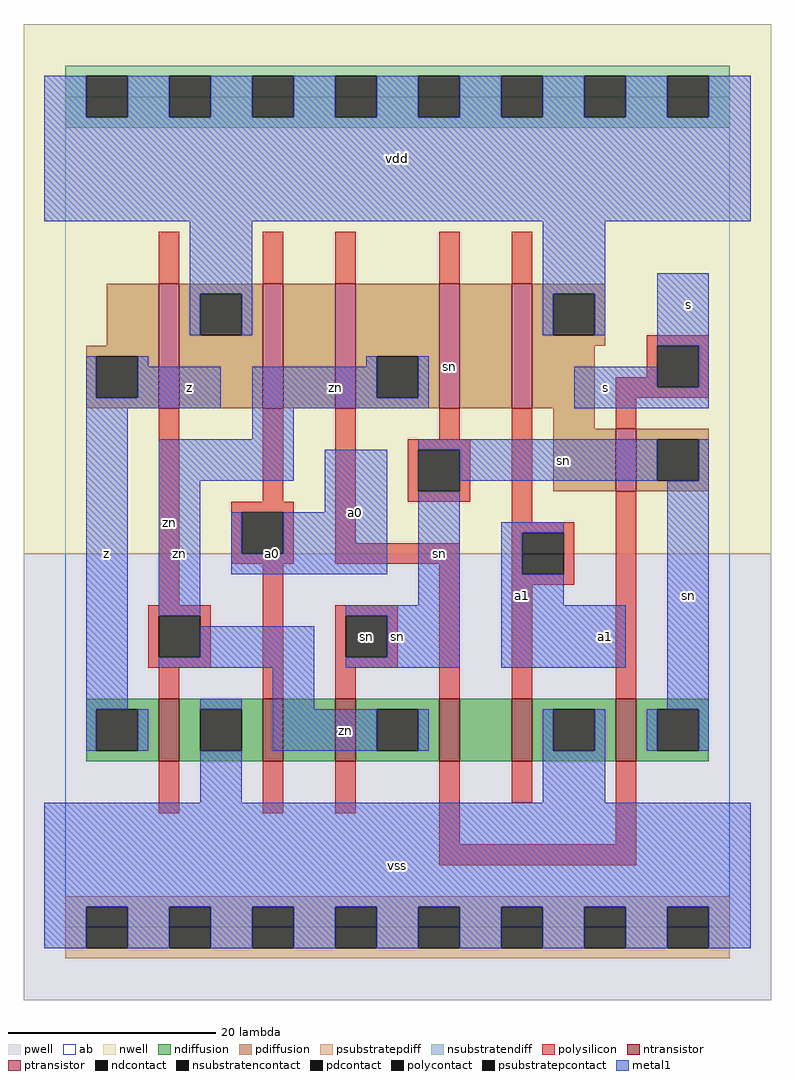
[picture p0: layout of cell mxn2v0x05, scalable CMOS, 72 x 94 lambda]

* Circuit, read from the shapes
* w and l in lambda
.subckt mxn2v0x05 a0 a1 s sn vdd vss z zn
M1 vss zn z vss nfet w=6 l=2
M2 n1 a0 vss vss nfet w=6 l=2
M3 zn sn n1 vss nfet w=6 l=2
M4 n2 s zn vss nfet w=6 l=2
M5 vss a1 n2 vss nfet w=6 l=2
M6 sn s vss vss nfet w=6 l=2
M7 vdd zn z vdd pfet w=12 l=2
M8 n3 a0 vdd vdd pfet w=12 l=2
M9 zn s n3 vdd pfet w=12 l=2
M10 n4 sn zn vdd pfet w=12 l=2
M11 vdd a1 n4 vdd pfet w=12 l=2
M12 sn s vdd vdd pfet w=6 l=2
.ends

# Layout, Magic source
magic
tech scmos
<< ab >>
rect 0 0 64 80
<< pwell >>
rect -4 -7 68 36
<< nwell >>
rect -4 36 68 87
<< polysilicon >>
rect 9 62 11 67
rect 19 62 21 67
rect 26 62 28 67
rect 36 62 38 67
rect 43 62 45 67
rect 56 56 62 57
rect 56 53 57 56
rect 9 31 11 50
rect 19 41 21 50
rect 16 40 22 41
rect 16 36 17 40
rect 21 36 22 40
rect 16 35 22 36
rect 26 37 28 50
rect 36 47 38 50
rect 33 46 39 47
rect 33 42 34 46
rect 38 42 39 46
rect 33 41 39 42
rect 43 39 45 50
rect 53 52 57 53
rect 61 52 62 56
rect 53 51 62 52
rect 53 48 55 51
rect 43 38 49 39
rect 26 35 38 37
rect 8 30 14 31
rect 8 26 9 30
rect 13 26 14 30
rect 8 25 14 26
rect 9 22 11 25
rect 19 22 21 35
rect 26 30 32 31
rect 26 26 27 30
rect 31 26 32 30
rect 26 25 32 26
rect 26 22 28 25
rect 36 22 38 35
rect 43 34 44 38
rect 48 34 49 38
rect 43 33 49 34
rect 43 22 45 33
rect 53 22 55 42
rect 9 11 11 16
rect 19 11 21 16
rect 26 11 28 16
rect 36 8 38 16
rect 43 12 45 16
rect 53 8 55 16
rect 36 6 55 8
<< ndiffusion >>
rect 2 21 9 22
rect 2 17 3 21
rect 7 17 9 21
rect 2 16 9 17
rect 11 21 19 22
rect 11 17 13 21
rect 17 17 19 21
rect 11 16 19 17
rect 21 16 26 22
rect 28 21 36 22
rect 28 17 30 21
rect 34 17 36 21
rect 28 16 36 17
rect 38 16 43 22
rect 45 21 53 22
rect 45 17 47 21
rect 51 17 53 21
rect 45 16 53 17
rect 55 21 62 22
rect 55 17 57 21
rect 61 17 62 21
rect 55 16 62 17
<< pdiffusion >>
rect 4 56 9 62
rect 2 55 9 56
rect 2 51 3 55
rect 7 51 9 55
rect 2 50 9 51
rect 11 61 19 62
rect 11 57 13 61
rect 17 57 19 61
rect 11 50 19 57
rect 21 50 26 62
rect 28 55 36 62
rect 28 51 30 55
rect 34 51 36 55
rect 28 50 36 51
rect 38 50 43 62
rect 45 61 52 62
rect 45 57 47 61
rect 51 57 52 61
rect 45 56 52 57
rect 45 50 51 56
rect 47 48 51 50
rect 47 42 53 48
rect 55 47 62 48
rect 55 43 57 47
rect 61 43 62 47
rect 55 42 62 43
<< metal1 >>
rect -2 78 2 82
rect 6 78 10 82
rect 14 78 18 82
rect 22 78 26 82
rect 30 78 34 82
rect 38 78 42 82
rect 46 78 50 82
rect 54 78 58 82
rect 62 78 66 82
rect -2 68 66 78
rect 12 61 18 68
rect 12 57 13 61
rect 17 57 18 61
rect 46 61 52 68
rect 46 57 47 61
rect 51 57 52 61
rect 57 56 62 63
rect 2 51 3 55
rect 7 54 8 55
rect 29 54 30 55
rect 7 51 15 54
rect 2 50 15 51
rect 18 51 30 54
rect 34 51 35 55
rect 18 50 35 51
rect 49 52 57 54
rect 61 52 62 56
rect 49 50 62 52
rect 2 21 6 50
rect 18 47 22 50
rect 9 43 22 47
rect 34 46 57 47
rect 9 30 13 43
rect 25 40 31 46
rect 16 36 17 40
rect 21 36 31 40
rect 16 34 31 36
rect 38 43 57 46
rect 61 43 62 47
rect 34 31 38 42
rect 27 30 38 31
rect 13 26 24 29
rect 9 25 24 26
rect 31 26 38 30
rect 27 25 38 26
rect 42 38 48 39
rect 42 34 44 38
rect 42 31 48 34
rect 42 25 54 31
rect 13 21 17 22
rect 2 17 3 21
rect 7 17 8 21
rect 20 21 24 25
rect 58 21 62 43
rect 20 17 30 21
rect 34 17 35 21
rect 46 17 47 21
rect 51 17 52 21
rect 56 17 57 21
rect 61 17 62 21
rect 13 12 17 17
rect 46 12 52 17
rect -2 2 66 12
rect -2 -2 2 2
rect 6 -2 10 2
rect 14 -2 18 2
rect 22 -2 26 2
rect 30 -2 34 2
rect 38 -2 42 2
rect 46 -2 50 2
rect 54 -2 58 2
rect 62 -2 66 2
<< ntransistor >>
rect 9 16 11 22
rect 19 16 21 22
rect 26 16 28 22
rect 36 16 38 22
rect 43 16 45 22
rect 53 16 55 22
<< ptransistor >>
rect 9 50 11 62
rect 19 50 21 62
rect 26 50 28 62
rect 36 50 38 62
rect 43 50 45 62
rect 53 42 55 48
<< polycontact >>
rect 17 36 21 40
rect 34 42 38 46
rect 57 52 61 56
rect 9 26 13 30
rect 27 26 31 30
rect 44 34 48 38
<< ndcontact >>
rect 3 17 7 21
rect 13 17 17 21
rect 30 17 34 21
rect 47 17 51 21
rect 57 17 61 21
<< pdcontact >>
rect 3 51 7 55
rect 13 57 17 61
rect 30 51 34 55
rect 47 57 51 61
rect 57 43 61 47
<< psubstratepcontact >>
rect 2 -2 6 2
rect 10 -2 14 2
rect 18 -2 22 2
rect 26 -2 30 2
rect 34 -2 38 2
rect 42 -2 46 2
rect 50 -2 54 2
rect 58 -2 62 2
<< nsubstratencontact >>
rect 2 78 6 82
rect 10 78 14 82
rect 18 78 22 82
rect 26 78 30 82
rect 34 78 38 82
rect 42 78 46 82
rect 50 78 54 82
rect 58 78 62 82
<< psubstratepdiff >>
rect 0 2 64 3
rect 0 -2 2 2
rect 6 -2 10 2
rect 14 -2 18 2
rect 22 -2 26 2
rect 30 -2 34 2
rect 38 -2 42 2
rect 46 -2 50 2
rect 54 -2 58 2
rect 62 -2 64 2
rect 0 -3 64 -2
<< nsubstratendiff >>
rect 0 82 64 83
rect 0 78 2 82
rect 6 78 10 82
rect 14 78 18 82
rect 22 78 26 82
rect 30 78 34 82
rect 38 78 42 82
rect 46 78 50 82
rect 54 78 58 82
rect 62 78 64 82
rect 0 77 64 78
<< labels >>
rlabel polysilicon 10 39 10 39 6 zn
rlabel polycontact 29 28 29 28 6 sn
rlabel ptransistor 37 54 37 54 6 sn
rlabel metal1 4 36 4 36 6 z
rlabel metal1 11 36 11 36 6 zn
rlabel metal1 20 36 20 36 6 a0
rlabel metal1 12 52 12 52 6 z
rlabel metal1 32 6 32 6 6 vss
rlabel metal1 27 19 27 19 6 zn
rlabel metal1 36 36 36 36 6 sn
rlabel metal1 32 28 32 28 6 sn
rlabel metal1 28 40 28 40 6 a0
rlabel metal1 26 52 26 52 6 zn
rlabel metal1 32 74 32 74 6 vdd
rlabel metal1 44 32 44 32 6 a1
rlabel metal1 52 28 52 28 6 a1
rlabel metal1 60 32 60 32 6 sn
rlabel metal1 48 45 48 45 6 sn
rlabel metal1 52 52 52 52 6 s
rlabel metal1 60 60 60 60 6 s
<< end >>
